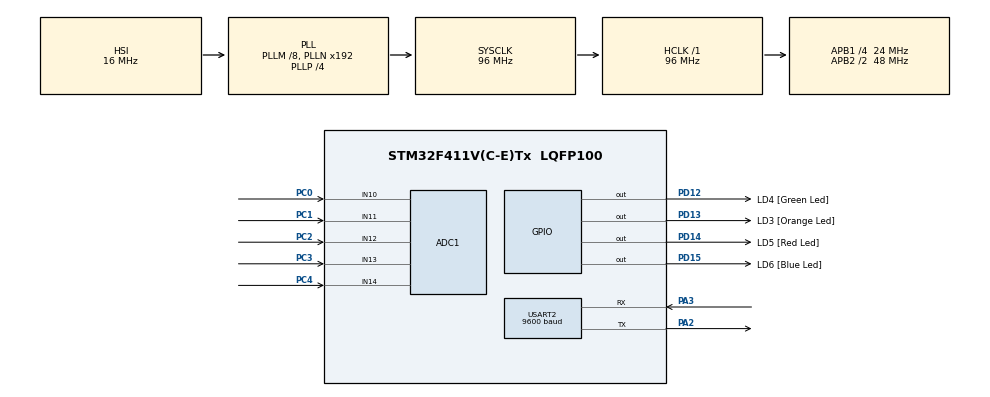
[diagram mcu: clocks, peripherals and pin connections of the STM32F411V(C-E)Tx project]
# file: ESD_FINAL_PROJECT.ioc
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ADC1.Channel-0\#ChannelRegularConversion=ADC_CHANNEL_10
ADC1.Channel-1\#ChannelRegularConversion=ADC_CHANNEL_11
ADC1.Channel-2\#ChannelRegularConversion=ADC_CHANNEL_12
ADC1.Channel-3\#ChannelRegularConversion=ADC_CHANNEL_13
ADC1.Channel-4\#ChannelRegularConversion=ADC_CHANNEL_14
ADC1.ContinuousConvMode=ENABLE
ADC1.DiscontinuousConvMode=DISABLE
ADC1.NbrOfConversion=5
ADC1.NbrOfConversionFlag=1
ADC1.Rank-0\#ChannelRegularConversion=1
ADC1.Rank-1\#ChannelRegularConversion=2
ADC1.Rank-2\#ChannelRegularConversion=3
ADC1.Rank-3\#ChannelRegularConversion=4
ADC1.Rank-4\#ChannelRegularConversion=5
ADC1.SamplingTime-0\#ChannelRegularConversion=ADC_SAMPLETIME_28CYCLES
ADC1.SamplingTime-1\#ChannelRegularConversion=ADC_SAMPLETIME_28CYCLES
ADC1.SamplingTime-2\#ChannelRegularConversion=ADC_SAMPLETIME_28CYCLES
ADC1.SamplingTime-3\#ChannelRegularConversion=ADC_SAMPLETIME_28CYCLES
ADC1.SamplingTime-4\#ChannelRegularConversion=ADC_SAMPLETIME_28CYCLES
ADC1.ScanConvMode=ENABLE
ADC1.master=1
Mcu.Family=STM32F4
Mcu.Name=STM32F411V(C-E)Tx
Mcu.Package=LQFP100
NVIC.PriorityGroup=NVIC_PRIORITYGROUP_0
PA13.GPIO_Label=SWDIO
PA13.Signal=SYS_JTMS-SWDIO
PA14.GPIO_Label=SWCLK
PA14.Signal=SYS_JTCK-SWCLK
PA2.Mode=Asynchronous
PA2.Signal=USART2_TX
PA3.Mode=Asynchronous
PA3.Signal=USART2_RX
PB3.GPIO_Label=SWO
PB3.Signal=SYS_JTDO-SWO
PC0.Signal=ADCx_IN10
PC1.Signal=ADCx_IN11
PC14-OSC32_IN.GPIO_Label=PC14-OSC32_IN
PC14-OSC32_IN.Signal=RCC_OSC32_IN
PC15-OSC32_OUT.GPIO_Label=PC15-OSC32_OUT
PC15-OSC32_OUT.Signal=RCC_OSC32_OUT
PC2.Signal=ADCx_IN12
PC3.Signal=ADCx_IN13
PC4.Signal=ADCx_IN14
PD12.GPIO_Label=LD4 [Green Led]
PD12.GPIO_PuPd=GPIO_NOPULL
PD12.GPIO_Speed=GPIO_SPEED_FREQ_LOW
PD12.Signal=GPIO_Output
PD13.GPIO_Label=LD3 [Orange Led]
PD13.GPIO_PuPd=GPIO_NOPULL
PD13.GPIO_Speed=GPIO_SPEED_FREQ_LOW
PD13.Signal=GPIO_Output
PD14.GPIO_Label=LD5 [Red Led]
PD14.GPIO_PuPd=GPIO_NOPULL
PD14.GPIO_Speed=GPIO_SPEED_FREQ_LOW
PD14.Signal=GPIO_Output
PD15.GPIO_Label=LD6 [Blue Led]
PD15.GPIO_PuPd=GPIO_NOPULL
PD15.GPIO_Speed=GPIO_SPEED_FREQ_LOW
PD15.Signal=GPIO_Output
PH0\ -\ OSC_IN.GPIO_Label=PH0-OSC_IN
PH0\ -\ OSC_IN.Signal=RCC_OSC_IN
PH1\ -\ OSC_OUT.GPIO_Label=PH1-OSC_OUT
PH1\ -\ OSC_OUT.Signal=RCC_OSC_OUT
ProjectManager.HeapSize=0x200
ProjectManager.StackSize=0x400
ProjectManager.TargetToolchain=STM32CubeIDE
RCC.48MHZClocksFreq_Value=48000000
RCC.AHBFreq_Value=96000000
RCC.APB1CLKDivider=RCC_HCLK_DIV4
RCC.APB1Freq_Value=24000000
RCC.APB1TimFreq_Value=48000000
RCC.APB2CLKDivider=RCC_HCLK_DIV2
RCC.APB2Freq_Value=48000000
RCC.APB2TimFreq_Value=96000000
RCC.CortexFreq_Value=96000000
RCC.HCLKFreq_Value=96000000
RCC.HSE_VALUE=8000000
RCC.HSI_VALUE=16000000
RCC.LSE_VALUE=32768
RCC.PLLI2SM=5
RCC.PLLI2SN=200
RCC.PLLM=8
RCC.PLLP=RCC_PLLP_DIV4
RCC.PLLQ=8
RCC.SYSCLKFreq_VALUE=96000000
RCC.SYSCLKSource=RCC_SYSCLKSOURCE_PLLCLK
RCC.VCOOutputFreq_Value=384000000
SH.ADCx_IN10.0=ADC1_IN10,IN10
SH.ADCx_IN11.0=ADC1_IN11,IN11
SH.ADCx_IN12.0=ADC1_IN12,IN12
SH.ADCx_IN13.0=ADC1_IN13,IN13
SH.ADCx_IN14.0=ADC1_IN14,IN14
USART2.BaudRate=9600
USART2.VirtualMode=VM_ASYNC
VP_RTC_VS_RTC_Activate.Mode=RTC_Enabled
board=STM32F411E-DISCO

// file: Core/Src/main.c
/* USER CODE BEGIN Header */
/**
  ******************************************************************************
  * @file           : main.c
  * @brief          : Main program body
  ******************************************************************************
  * @attention
  *
  * Copyright (c) 2024 STMicroelectronics.
  * All rights reserved.
  *
  * This software is licensed under terms that can be found in the LICENSE file
  * in the root directory of this software component.
  * If no LICENSE file comes with this software, it is provided AS-IS.
  *
  ******************************************************************************
  */
/*
 * Authors Darshan Salian,Vaishnavi Jadhav
 *
 */
/* USER CODE END Header */
#include "main.h"

/* USER CODE BEGIN Includes */
#include <stdio.h>
/* USER CODE END Includes */

ADC_HandleTypeDef hadc1;

RTC_HandleTypeDef hrtc;

UART_HandleTypeDef huart2;

void SystemClock_Config(void);
static void MX_GPIO_Init(void);
/* USER CODE BEGIN PFP */
#ifdef __GNUC__
#define PUTCHAR_PROTOTYPE int __io_putchar(int ch)
#else
#define PUTCHAR_PROTOTYPE int fputc(int ch, FILE *f)
#endif

PUTCHAR_PROTOTYPE
{
  HAL_UART_Transmit(&huart2, (uint8_t *)&ch, 1, HAL_MAX_DELAY);
  return ch;
}

uint16_t current_data=0;
/*********ADS1115***************/
int millivolts =0;

uint8_t Data_to_write[16]= {0};
uint8_t Data_to_read[16]= {0};

/* USER CODE END PFP */

/* USER CODE BEGIN 0 */

 RTC_TimeTypeDef sTime = {0};
 RTC_DateTypeDef sDate = {0};
 RTC_DateTypeDef getDate = {0};
 RTC_TimeTypeDef getTime = {0};
 uint16_t  ADC_VAL[5] = {0};

 float Voltage_mV[4] = {0};
 float Temperature_C[4] = {0};
 float Temperature_F[4] = {0};
 uint16_t adc_value_channel[16]={0};
 uint8_t  adc_value_channel_EEPROM[16] = {0};
 float raw_voltage=0;
 float output_current=0;

/* USER CODE END 0 */

int main(void)
{

  /* MCU Configuration--------------------------------------------------------*/

  /* Reset of all peripherals, Initializes the Flash interface and the Systick. */
  HAL_Init();

  /* Configure the system clock */
  SystemClock_Config();

  /* Initialize all configured peripherals */
  MX_GPIO_Init();
  MX_RTC_Init();
  MX_ADC1_Init();
  MX_USART2_UART_Init();
  /* USER CODE BEGIN 2 */
  I2C_Init();

  I2C2_Init();

  SetTime();  //Set Time For RTC

  /* USER CODE END 2 */

  /* Infinite loop */
  while (1)
  {

    /* USER CODE BEGIN 3 */
	  printf("E\r\n");

	  GetTime();
	  for (uint8_t channel = 0; channel < 4; channel++) {
		  // Configure the ADC for the current channel
		  Set_Channel_Config(channel);

		  // Wait for conversion (adjust based on ADS1115's data rate)
		  delay_ms(10);

		  // Read the ADC value from the conversion register
		  uint8_t data[2] = {0};
		  I2C1_BurstRead(ADS1115_ADDRESS, 0x00, 2, data);
		  adc_value_channel[channel] = (data[0] << 8) | data[1];

		  // Convert ADC value to millivolts
		   int millivolts = adc_value_channel[channel] * 6.144 * 1000 / 32768.0;
		   adc_value_channel[channel]=millivolts;

		  // Print channel information and ADC value
//		  printf("Channel %d: ADC Value = %u, Millivolts = %d\r\n", channel, adc_value, millivolts);

		  // Add a delay before the next conversion
		  delay_ms(100);

	  }
	  //printf("%dA%dB%dC%dD",adc_value_channel[0],adc_value_channel[1],adc_value_channel[2],adc_value_channel[3]);

	  GetTempData();

		  current_data=0;
		  for(int p=0;p<10;p++)
		  {
			  GetCurrentData();
		  }
		  current_data=current_data/10;
		  raw_voltage = (float)current_data * 3.0/4096;
		  output_current  = (2.43-raw_voltage)/0.1;
		  if(output_current<0)
		  {
			  output_current=output_current*(-1);
		  }
		  adc_value_channel[8]= (output_current*1000)-50;

		  Data_to_write[0]=adc_value_channel[0]/100;  //voltage of A0
		  Data_to_write[1]=adc_value_channel[1]/100;  //voltage of A1
		  Data_to_write[2]=adc_value_channel[2]/100;  //voltage of A2
		  Data_to_write[3]=adc_value_channel[3]/100;  //voltage of A3
		  Data_to_write[4]=(uint8_t)adc_value_channel[4];  //Temp1
		  Data_to_write[5]=(uint8_t)adc_value_channel[5];  //Temp2
		  Data_to_write[6]=(uint8_t)adc_value_channel[6];  //Temp3
		  Data_to_write[7]=(uint8_t)adc_value_channel[7];  //Temp4
		  Data_to_write[8]=(uint8_t)adc_value_channel[8];  //Load Current
		  Data_to_write[9]=(uint8_t)getTime.Hours;
		  Data_to_write[10]=(uint8_t)getTime.Minutes;
		  Data_to_write[11]=(uint8_t)getTime.Seconds;
		  Data_to_write[12]=(uint8_t)getDate.Date;
		  Data_to_write[13]=(uint8_t)getDate.Month;
		  Data_to_write[14]=(uint8_t)getDate.Year;

		     I2C2_BurstWrite(EEPROM_I2C_ADDRESS, 0x00,16, Data_to_write);
		     HAL_Delay(50);//
		     I2C2_BurstRead(EEPROM_I2C_ADDRESS, 0x00,16, Data_to_read);

		     HAL_Delay(500);

		     printf("%dA%dB%dC%dD%dF%dG%dH%dI%dJ",adc_value_channel[0],adc_value_channel[1],adc_value_channel[2],adc_value_channel[3],adc_value_channel[4],adc_value_channel[5],adc_value_channel[6],adc_value_channel[7],adc_value_channel[8]);

  }
  /* USER CODE END 3 */
}

void SystemClock_Config(void)
{
  RCC_OscInitTypeDef RCC_OscInitStruct = {0};
  RCC_ClkInitTypeDef RCC_ClkInitStruct = {0};

  /** Configure the main internal regulator output voltage
  */
  __HAL_RCC_PWR_CLK_ENABLE();
  __HAL_PWR_VOLTAGESCALING_CONFIG(PWR_REGULATOR_VOLTAGE_SCALE1);

  /** Initializes the RCC Oscillators according to the specified parameters
  * in the RCC_OscInitTypeDef structure.
  */
  RCC_OscInitStruct.OscillatorType = RCC_OSCILLATORTYPE_HSI|RCC_OSCILLATORTYPE_LSI;
  RCC_OscInitStruct.HSIState = RCC_HSI_ON;
  RCC_OscInitStruct.HSICalibrationValue = RCC_HSICALIBRATION_DEFAULT;
  RCC_OscInitStruct.LSIState = RCC_LSI_ON;
  RCC_OscInitStruct.PLL.PLLState = RCC_PLL_ON;
  RCC_OscInitStruct.PLL.PLLSource = RCC_PLLSOURCE_HSI;
  RCC_OscInitStruct.PLL.PLLM = 8;
  RCC_OscInitStruct.PLL.PLLN = 192;
  RCC_OscInitStruct.PLL.PLLP = RCC_PLLP_DIV4;
  RCC_OscInitStruct.PLL.PLLQ = 8;
  if (HAL_RCC_OscConfig(&RCC_OscInitStruct) != HAL_OK)
  {
    Error_Handler();
  }

  /** Initializes the CPU, AHB and APB buses clocks
  */
  RCC_ClkInitStruct.ClockType = RCC_CLOCKTYPE_HCLK|RCC_CLOCKTYPE_SYSCLK
                              |RCC_CLOCKTYPE_PCLK1|RCC_CLOCKTYPE_PCLK2;
  RCC_ClkInitStruct.SYSCLKSource = RCC_SYSCLKSOURCE_PLLCLK;
  RCC_ClkInitStruct.AHBCLKDivider = RCC_SYSCLK_DIV1;
  RCC_ClkInitStruct.APB1CLKDivider = RCC_HCLK_DIV4;
  RCC_ClkInitStruct.APB2CLKDivider = RCC_HCLK_DIV2;

  if (HAL_RCC_ClockConfig(&RCC_ClkInitStruct, FLASH_LATENCY_3) != HAL_OK)
  {
    Error_Handler();
  }
}

static void MX_GPIO_Init(void)
{
  GPIO_InitTypeDef GPIO_InitStruct = {0};

  /* GPIO Ports Clock Enable */
  __HAL_RCC_GPIOC_CLK_ENABLE();
  __HAL_RCC_GPIOH_CLK_ENABLE();
  __HAL_RCC_GPIOA_CLK_ENABLE();
  __HAL_RCC_GPIOD_CLK_ENABLE();
  __HAL_RCC_GPIOB_CLK_ENABLE();

  /*Configure GPIO pin Output Level */
  HAL_GPIO_WritePin(GPIOD, LD4_Pin|LD3_Pin|LD5_Pin|LD6_Pin, GPIO_PIN_RESET);

  /*Configure GPIO pins : LD4_Pin LD3_Pin LD5_Pin LD6_Pin */
  GPIO_InitStruct.Pin = LD4_Pin|LD3_Pin|LD5_Pin|LD6_Pin;
  GPIO_InitStruct.Mode = GPIO_MODE_OUTPUT_PP;
  GPIO_InitStruct.Pull = GPIO_NOPULL;
  GPIO_InitStruct.Speed = GPIO_SPEED_FREQ_LOW;
  HAL_GPIO_Init(GPIOD, &GPIO_InitStruct);

}

void Error_Handler(void)
{
  __disable_irq();
  while (1)
  {
  }
}
